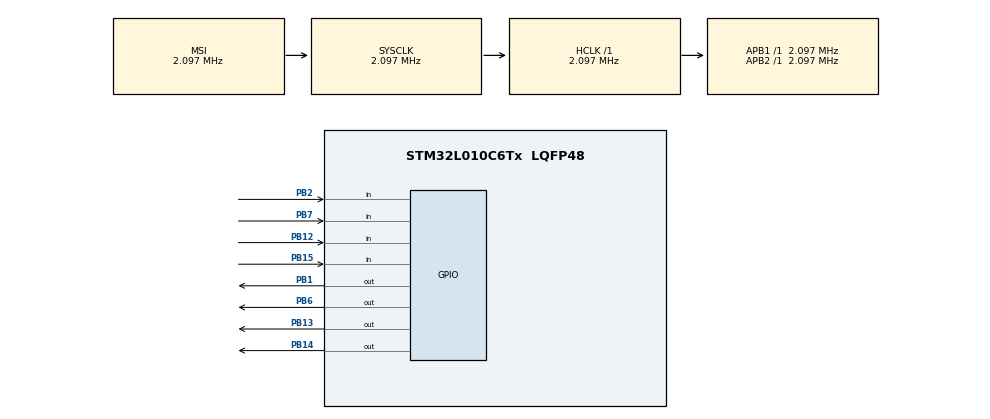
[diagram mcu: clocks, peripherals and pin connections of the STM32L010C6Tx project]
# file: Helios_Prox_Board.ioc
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Mcu.Family=STM32L0
Mcu.Name=STM32L010C6Tx
Mcu.Package=LQFP48
PA13.Mode=Serial_Wire
PA13.Signal=SYS_SWDIO
PA14.Mode=Serial_Wire
PA14.Signal=SYS_SWCLK
PB1.Signal=GPIO_Output
PB12.Signal=GPIO_Input
PB13.Signal=GPIO_Output
PB14.Signal=GPIO_Output
PB15.Signal=GPIO_Input
PB2.Signal=GPIO_Input
PB6.Signal=GPIO_Output
PB7.Signal=GPIO_Input
ProjectManager.HeapSize=0x200
ProjectManager.StackSize=0x400
ProjectManager.TargetToolchain=STM32CubeIDE
RCC.AHBFreq_Value=2097000
RCC.APB1Freq_Value=2097000
RCC.APB1TimFreq_Value=2097000
RCC.APB2Freq_Value=2097000
RCC.APB2TimFreq_Value=2097000
RCC.HSE_VALUE=8000000
RCC.HSI16_VALUE=16000000
RCC.HSI_VALUE=16000000
RCC.LSE_VALUE=32768
RCC.MSI_VALUE=2097000
RCC.SYSCLKFreq_VALUE=2097000
RCC.VCOOutputFreq_Value=48000000
board=custom

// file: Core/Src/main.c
/* USER CODE BEGIN Header */
/**
  ******************************************************************************
  * @file           : main.c
  * @brief          : Main program body
  ******************************************************************************
  * @attention
  *
  * Copyright (c) 2024 STMicroelectronics.
  * All rights reserved.
  *
  * This software is licensed under terms that can be found in the LICENSE file
  * in the root directory of this software component.
  * If no LICENSE file comes with this software, it is provided AS-IS.
  *
  ******************************************************************************
  */
/* USER CODE END Header */
#include "main.h"

/* USER CODE BEGIN PTD */

// This is a structure that represents an ultrasonic sensor information
typedef struct{
  GPIO_TypeDef *trig_port; // Pointer to the trigger pin port
  uint16_t trig_pin;       // Trigger pin number
  GPIO_TypeDef *echo_port; // Pointer to the echo pin port
  uint16_t echo_pin;      // Echo pin number
} UltrasonicSensor;

/* USER CODE END PTD */

/* USER CODE BEGIN PV */
UltrasonicSensor sensors[] = {
    {GPIOB, GPIO_PIN_1, GPIOB, GPIO_PIN_2},  // Sensor 1
    {GPIOB, GPIO_PIN_4, GPIOB, GPIO_PIN_5},  // Sensor 2
    {GPIOB, GPIO_PIN_7, GPIOB, GPIO_PIN_8},  // Sensor 3
    {GPIOB, GPIO_PIN_10, GPIOB, GPIO_PIN_11} // Sensor 4
};
/* USER CODE END PV */

void SystemClock_Config(void);
static void MX_GPIO_Init(void);

/* USER CODE BEGIN PFP */
void trigger_sensor(UltrasonicSensor sensor); // Function to trigger the ultrasonic sensor to transmit a pulse
uint32_t measure_pulse(UltrasonicSensor sensor); // Function to measure the pulse duration of the echo signal
float calculate_distance(uint32_t pulse_duration); // Function to calculate the distance based on the pulse duration
/* USER CODE END PFP */

int main(void)
{

  /* MCU Configuration--------------------------------------------------------*/

  /* Reset of all peripherals, Initializes the Flash interface and the Systick. */
  HAL_Init();

  /* Configure the system clock */
  SystemClock_Config();

  /* Initialize all configured peripherals */
  MX_GPIO_Init();

  /* Infinite loop */
  while (1)
  {

  }
}

void SystemClock_Config(void)
{
  RCC_OscInitTypeDef RCC_OscInitStruct = {0};
  RCC_ClkInitTypeDef RCC_ClkInitStruct = {0};

  /** Configure the main internal regulator output voltage
  */
  __HAL_PWR_VOLTAGESCALING_CONFIG(PWR_REGULATOR_VOLTAGE_SCALE1);

  /** Initializes the RCC Oscillators according to the specified parameters
  * in the RCC_OscInitTypeDef structure.
  */
  RCC_OscInitStruct.OscillatorType = RCC_OSCILLATORTYPE_MSI;
  RCC_OscInitStruct.MSIState = RCC_MSI_ON;
  RCC_OscInitStruct.MSICalibrationValue = 0;
  RCC_OscInitStruct.MSIClockRange = RCC_MSIRANGE_5;
  RCC_OscInitStruct.PLL.PLLState = RCC_PLL_NONE;
  if (HAL_RCC_OscConfig(&RCC_OscInitStruct) != HAL_OK)
  {
    Error_Handler();
  }

  /** Initializes the CPU, AHB and APB buses clocks
  */
  RCC_ClkInitStruct.ClockType = RCC_CLOCKTYPE_HCLK|RCC_CLOCKTYPE_SYSCLK
                              |RCC_CLOCKTYPE_PCLK1|RCC_CLOCKTYPE_PCLK2;
  RCC_ClkInitStruct.SYSCLKSource = RCC_SYSCLKSOURCE_MSI;
  RCC_ClkInitStruct.AHBCLKDivider = RCC_SYSCLK_DIV1;
  RCC_ClkInitStruct.APB1CLKDivider = RCC_HCLK_DIV1;
  RCC_ClkInitStruct.APB2CLKDivider = RCC_HCLK_DIV1;

  if (HAL_RCC_ClockConfig(&RCC_ClkInitStruct, FLASH_LATENCY_0) != HAL_OK)
  {
    Error_Handler();
  }
}

static void MX_GPIO_Init(void)
{
  GPIO_InitTypeDef GPIO_InitStruct = {0};

  /* GPIO Ports Clock Enable */
  __HAL_RCC_GPIOB_CLK_ENABLE();
  __HAL_RCC_GPIOA_CLK_ENABLE();

  /*Configure GPIO pin Output Level */
  HAL_GPIO_WritePin(GPIOB, GPIO_PIN_1|GPIO_PIN_13|GPIO_PIN_14|GPIO_PIN_6, GPIO_PIN_RESET);

  /*Configure GPIO pins : PB1 PB13 PB14 PB6 */
  GPIO_InitStruct.Pin = GPIO_PIN_1|GPIO_PIN_13|GPIO_PIN_14|GPIO_PIN_6;
  GPIO_InitStruct.Mode = GPIO_MODE_OUTPUT_PP;
  GPIO_InitStruct.Pull = GPIO_NOPULL;
  GPIO_InitStruct.Speed = GPIO_SPEED_FREQ_LOW;
  HAL_GPIO_Init(GPIOB, &GPIO_InitStruct);

  /*Configure GPIO pins : PB2 PB12 PB15 PB7 */
  GPIO_InitStruct.Pin = GPIO_PIN_2|GPIO_PIN_12|GPIO_PIN_15|GPIO_PIN_7;
  GPIO_InitStruct.Mode = GPIO_MODE_INPUT;
  GPIO_InitStruct.Pull = GPIO_NOPULL;
  HAL_GPIO_Init(GPIOB, &GPIO_InitStruct);

}

void Error_Handler(void)
{
  __disable_irq();
  while (1)
  {
  }
}
